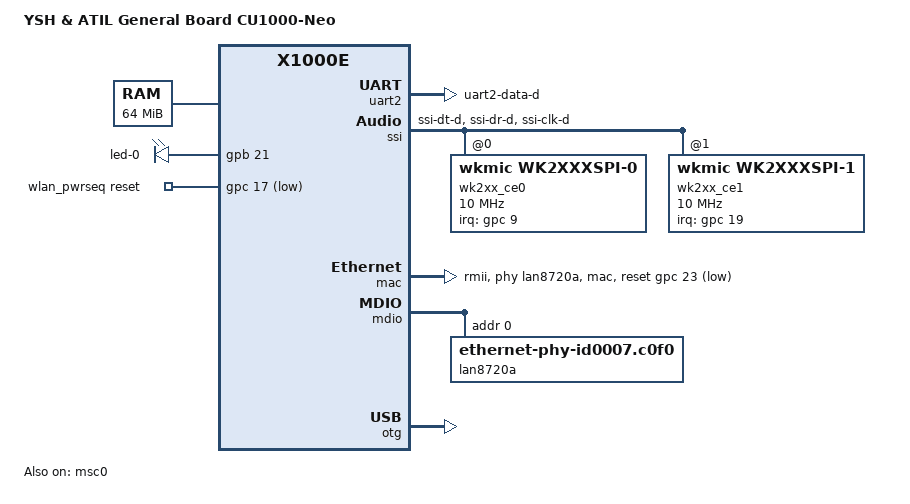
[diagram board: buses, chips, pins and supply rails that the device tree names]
// SPDX-License-Identifier: GPL-2.0
/dts-v1/;

#include "x1000.dtsi"
#include <dt-bindings/gpio/gpio.h>
#include <dt-bindings/clock/ingenic,sysost.h>
#include <dt-bindings/interrupt-controller/irq.h>

/ {
	compatible = "yna,cu1000-neo", "ingenic,x1000e";
	model = "YSH & ATIL General Board CU1000-Neo";

	aliases {
		serial2 = &uart2;
	};

	chosen {
		stdout-path = "serial2:115200n8";
	};

	memory {
		device_type = "memory";
		reg = <0x0 0x04000000>;
	};

	leds {
		compatible = "gpio-leds";
		led-0 {
			gpios = <&gpb 21 GPIO_ACTIVE_HIGH>;
			linux,default-trigger = "mmc0";
		};
	};

	wlan_pwrseq: msc1-pwrseq {
		compatible = "mmc-pwrseq-simple";

		reset-gpios = <&gpc 17 GPIO_ACTIVE_LOW>;
		post-power-on-delay-ms = <200>;
	};
};

&exclk {
	clock-frequency = <24000000>;
};

&cgu {
	/*
	 * We use a rate of 600 MHz for MPLL, put the DDR under MPLL, and use
	 * a rate of 200 MHz for DDR.
	 * Use the 32.768 kHz oscillator as the parent of the RTC for a higher
	 * precision.
	 */
	assigned-clocks =
		<&cgu X1000_CLK_MPLL>,
		<&cgu X1000_CLK_DDR>,
		<&cgu X1000_CLK_RTC>;
	assigned-clock-parents =
		<0>,
		<&cgu X1000_CLK_MPLL>,
		<&cgu X1000_CLK_RTCLK>;
	assigned-clock-rates =
		<600000000>,
		<200000000>;
};

&ost {
	/* 1500 kHz for the system timer and clocksource */
	assigned-clocks = <&ost OST_CLK_PERCPU_TIMER>, <&ost OST_CLK_GLOBAL_TIMER>;
	assigned-clock-rates = <1500000>, <1500000>;
};

&uart2 {
	status = "okay";

	pinctrl-names = "default";
	pinctrl-0 = <&pins_uart2>;
};

&ssi {
	status = "okay";

	spi-max-frequency = <50000000>;

	num-cs = <2>;
	cs-gpios = <&gpd 1 GPIO_ACTIVE_LOW>, <&gpc 6 GPIO_ACTIVE_LOW>;

	pinctrl-names = "default";
	pinctrl-0 = <&pins_ssi>;

	wk2xx_ce0: wk2204_ce0@0 {
		compatible = "wkmic,wk2xxxspi-0";
		reg = <0>;
		spi-max-frequency = <10000000>;

		irq_gpio=<&gpc 9 IRQ_TYPE_EDGE_FALLING>;
	};

	wk2xx_ce1: wk2204_ce1@1 {
		compatible = "wkmic,wk2xxxspi-1";
		reg = <1>;
		spi-max-frequency = <10000000>;

		irq_gpio=<&gpc 19 IRQ_TYPE_EDGE_FALLING>;
	};

};

&msc0 {
	status = "okay";

	bus-width = <8>;
	max-frequency = <50000000>;

	pinctrl-names = "default";
	pinctrl-0 = <&pins_msc0>;

	non-removable;
};

&mac {
	status = "okay";

	phy-mode = "rmii";
	phy-handle = <&lan8720a>;

	pinctrl-names = "default";
	pinctrl-0 = <&pins_mac>;

	snps,reset-gpio = <&gpc 23 GPIO_ACTIVE_LOW>; /* PC23 */
	snps,reset-active-low;
	snps,reset-delays-us = <0 10000 30000>;
};

&mdio {
	status = "okay";

	lan8720a: ethernet-phy@0 {
		compatible = "ethernet-phy-id0007.c0f0", "ethernet-phy-ieee802.3-c22";
		reg = <0>;
	};
};

&otg {
	status = "okay";
};

&pinctrl {
	pins_uart2: uart2 {
		function = "uart2";
		groups = "uart2-data-d";
		bias-pull-up;
	};

	pins_ssi: ssi {
		function = "ssi";
		groups = "ssi-dt-d", "ssi-dr-d", "ssi-clk-d";/*, "ssi-ce0-d";*/
		bias-disable;
	};

	pins_msc0: msc0 {
		function = "mmc0";
		groups = "mmc0-1bit", "mmc0-4bit", "mmc0-8bit";
		bias-disable;
	};

	pins_mac: mac {
		function = "mac";
		groups = "mac";
		bias-disable;
	};
};
